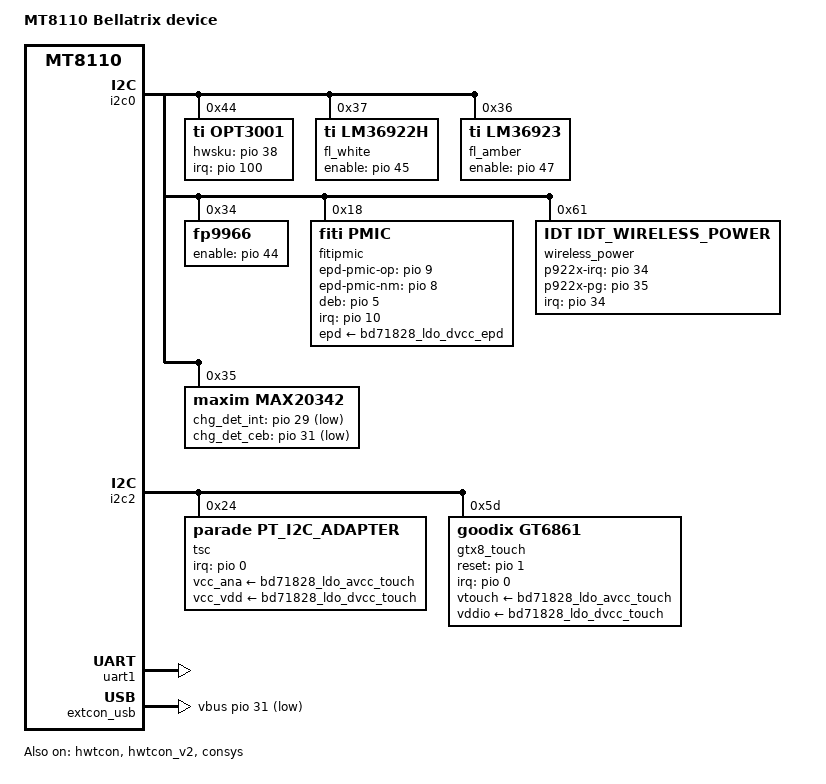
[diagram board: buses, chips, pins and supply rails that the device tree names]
/*
 * Copyright (c) 2020 Amazon.com Inc.
 *
 * SPDX-License-Identifier: (GPL-2.0 OR MIT)
 */

/dts-v1/;

#include "mt8110-bellatrix.dtsi"

/ {
	model = "MT8110 Bellatrix device";

	/* amazon virtual sensor */
	#include "malbec_virtual_sensor.dtsi"
};

&i2c0 {
	pinctrl-names = "default", "sleep";
	pinctrl-0 = <&i2c0_pins>;
	pinctrl-1 = <&i2c0_pins>;

	opt3001@44 {
		compatible = "ti,opt3001";
		pinctrl-names = "default", "sleep";
		pinctrl-0 = <&opt3001_pins_default>;
		pinctrl-1 = <&opt3001_pins_default>;
		reg = <0x44>;
		interrupt-parent = <&pio>;
		interrupts = <100 IRQ_TYPE_EDGE_FALLING>;

		hwsku-gpios = <&pio 38 0>;
	};

	/*white*/
	fl_white: lm36922h@37 {
		compatible = "ti,lm36922h";
		pinctrl-names = "default", "sleep";
		pinctrl-0 = <&lm36922h_pins>;
		pinctrl-1 = <&lm36922h_pins_sleep>;
		reg = <0x37>;
		enable-gpios = <&pio 45 GPIO_ACTIVE_HIGH>;

		bl@0{
			label = "lm36922h-bl";
			reg=<0>;
			frontlight=<0>;

		};
	};

	/*Amber*/
	fl_amber: lm36923@36 {
		compatible = "ti,lm36923";
		pinctrl-names = "default", "sleep";
		pinctrl-0 = <&lm36923_pins>;
		pinctrl-1 = <&lm36923_pins_sleep>;
		reg = <0x36>;
		enable-gpios = <&pio 47 GPIO_ACTIVE_HIGH>;

		bl@0{
			label = "lm36923-bl";
			reg=<0>;
			frontlight=<1>;
		};
	};

	/*white-Amber FP9966*/
	fp9966@34 {
		compatible = "fp9966";
		pinctrl-names = "default", "sleep";
		pinctrl-0 = <&fp9966_pins_default>;
		pinctrl-1 = <&fp9966_pins_sleep>;
		reg = <0x34>;
		enable-gpios = <&pio 44 GPIO_ACTIVE_HIGH>;

		bl@0{
			label = "fp9966-bl0";
			enable = <1>;
			mapmode = <1>;	/*0: Linear mapping, 1: Exponential mapping */
		};

		bl@1{
			label = "fp9966-bl1";
			enable = <1>;
			mapmode = <1>;	/*0: Linear mapping, 1: Exponential mapping */
		};
	};

	fitipmic: fiti@18 {
		compatible = "fiti,pmic";
		reg = <0x18>;
		vgh_ext = <0>;
		vgl_ext = <0>;
		xon_len = <2510>;
		xon_delay = <0>;
		vgh = <28000>;
		vgl = <20000>;
		vcom_setting = <1400>;
		vghnm_setting = <2900>;
		vghnm_ext = <1500>;
		vpos = <15000>;
		vneg = <15000>;
		epd-pmic-en = <&bd71828 1 0>;
		epd-pmic-op = <&pio 9 0>;
		epd-pmic-nm = <&pio 8 0>;
		interrupt-parent = <&pio>;
		interrupts = <10 IRQ_TYPE_LEVEL_HIGH>;
		deb-gpios = <&pio 5 0>;
		debounce = <16>;
		epd-supply = <&bd71828_ldo_dvcc_epd>;
		pinctrl-names = "active", "inactive";
		pinctrl-0 = <&fiti_pins_active>;
		pinctrl-1 = <&fiti_pins_inactive>;
		status = "okay";
	};

	wireless_power: p922x@61 {
		compatible = "IDT,idt_wireless_power";
		reg = <0x61>;
		interrupt-parent = <&pio>;
		interrupts = <34 IRQ_TYPE_EDGE_FALLING 35 IRQ_TYPE_EDGE_RISING>;

		wpc-mivr = <4500000 4500000>;
		wpc-switch-voltage = <4500 5000 5500 8500 9000 9500>;
		bpp-5w-fod = /bits/ 8 <154 52 130 58 149 32 144 36
					146 37 152 30 152 27 144 35>;
		bpp-10w-fod = /bits/ 8 <166 79 131 95 141 67 142 61
					141 81 141 81 141 75 141 59>;

		pinctrl-names = "wpc_en_default", "wpc_en0", "wpc_en1",
					"sleep_en_default", "sleep_en0", "sleep_en1";
		pinctrl-0 = <&wpc_en_default>;
		pinctrl-1 = <&wpc_en0>;
		pinctrl-2 = <&wpc_en1>;
		pinctrl-3 = <&sleep_en_default>;
		pinctrl-4 = <&sleep_en0>;
		pinctrl-5 = <&sleep_en1>;

		p922x-irq = <&pio 34 0>;
		p922x-pg = <&pio 35 0>;

		wpc-hardware-config = <1>;
		status = "okay";
	};

	max20342: max20342@35 {
		compatible = "maxim,max20342";
		interrupt-parent = <&pio>;
		interrupt-controller;
		pinctrl-names = "default";
		pinctrl-0 = <&max20342_chg_det_pins_default>;
		chg_det_int = <&pio 29 GPIO_ACTIVE_LOW>;
		chg_det_ceb = <&pio 31 GPIO_ACTIVE_LOW>;
		reg = <0x35>;
		status = "okay";
	};
};

&i2c1 {
	pinctrl-names = "default", "sleep";
	pinctrl-0 = <&i2c1_pins>;
	pinctrl-1 = <&i2c1_pins>;
};

&i2c2 {
	pinctrl-names = "default", "sleep";
	pinctrl-0 = <&i2c2_pins>;
	pinctrl-1 = <&i2c2_pins_sleep>;

	tsc@24 {
		compatible = "parade,pt_i2c_adapter";
		pinctrl-names = "default", "sleep";
		pinctrl-0 = <&touch_sensor_pins_default>;
		pinctrl-1 = <&touch_sensor_pins_sleep>;
		reg = <0x24>;

		/* GPIO 0, high-to-low edge triggered */
		interrupts = <0 2>;
		interrupt-parent = <&pio>;
		parade,adapter_id = "pt_i2c_adapter";
		vcc_ana-supply = <&bd71828_ldo_avcc_touch>;
		vcc_vdd-supply = <&bd71828_ldo_dvcc_touch>;

		parade,core {
			parade,name = "pt_core";

			parade,irq_gpio = <&pio 0 0>;
			parade,rst_gpio = <&pio 1 0>;
			parade,hid_desc_register = <1>;
			/*CY_CORE_FLAG_RESTORE_PARAMETERS | PT_CORE_FLAG_POWEROFF_ON_SLEEP*/
			parade,flags = <6>;
			/* CY_CORE_EWG_NONE */
			parade,easy_wakeup_gesture = <0>;
			/* 0:AUTO 1:PIP1_ONLY 2:PIP2_CAPABLE */
			parade,config_dut_generation = <0>;
			/* 0:False 1:True*/
			parade,watchdog_force_stop = <0>;
			/* Firmare Board Prefix */
			parade,fw_board_prefix = "malbec";

			parade,mt {
				parade,name = "pt_mt";

				parade,inp_dev_name = "pt_mt";
	/* CY_MT_FLAG_FLIP | CY_MT_FLAG_INV_X */
				parade,flags = <0x18>;
				parade,abs =
	/* ABS_MT_POSITION_X, CY_ABS_MIN_X, CY_ABS_MAX_X, 0, 0 */
					<0x35 0 1236 0 0
	/* ABS_MT_POSITION_Y, CY_ABS_MIN_Y, CY_ABS_MAX_Y, 0, 0 */
					0x36 0 1648 0 0
	/* ABS_MT_PRESSURE, CY_ABS_MIN_P, CY_ABS_MAX_P, 0, 0 */
					0x3a 0 255 0 0
	/* CY_IGNORE_VALUE, CY_ABS_MIN_W, CY_ABS_MAX_W, 0, 0 */
					0xffff 0 255 0 0
	/* ABS_MT_TRACKING_ID, CY_ABS_MIN_T, CY_ABS_MAX_T, 0, 0 */
					0x39 0 15 0 0
	/* ABS_MT_TOUCH_MAJOR, 0, 255, 0, 0 */
					0x30 0 255 0 0
	/* ABS_MT_TOUCH_MINOR, 0, 255, 0, 0 */
					0xffff 0 255 0 0
	/* ABS_MT_ORIENTATION, -127, 127, 0, 0 */
					0xffff 0xffffff81 127 0 0
	/* ABS_MT_TOOL_TYPE, 0, MT_TOOL_MAX, 0, 0 */
					0xffff 0 1 0 0
	/* ABS_MT_DISTANCE, 0, 255, 0, 0 */
					0x3b 0 255 0 0>;

				parade,vkeys_x = <720>;
				parade,vkeys_y = <1280>;

				parade,virtual_keys =
				/* KeyCode CenterX CenterY Width Height */
					/* KEY_BACK */
					<158 1360 90 160 180
					/* KEY_MENU */
					139 1360 270 160 180
					/* KEY_HOMEPAGE */
					172 1360 450 160 180
					/* KEY SEARCH */
					217 1360 630 160 180>;
			};
		};
	};

	gtx8_touch@5d {
		compatible = "goodix,gt6861";
		reg = <0x5d>;
		pinctrl-names = "pmx_ts_active", "pmx_ts_suspend";
		pinctrl-0 = <&goodix_touch_sensor_pins_default>;
		pinctrl-1 = <&goodix_touch_sensor_pins_sleep>;
		status = "ok";
		interrupt-parent = <&pio>;
		interrupts = <0 IRQ_TYPE_EDGE_FALLING>;
		goodix,avdd-name = "vtouch";
		vtouch-supply = <&bd71828_ldo_avcc_touch>;
		goodix,iovdd-name = "vddio";
		vddio-supply = <&bd71828_ldo_dvcc_touch>;

		goodix,reset-gpio = <&pio 1 0>;
		goodix,irq-gpio = <&pio 0 0>;
		goodix,irq-flags = <2>;	/* 1:trigger rising, 2:trigger falling;*/
		goodix,panel-max-id = <2>;	/* maximum number of concurrent touches supported */
		goodix,panel-max-x = <1236>;
		goodix,panel-max-y = <1648>;
		goodix,panel-max-w = <255>;	/* TOUCH_MAJOR */
		goodix,panel-max-p = <255>;	/* TOUCH_PRESSURE */
		goodix,power-on-delay-us = <300000>;	/*300ms*/
		goodix,power-off-delay-us = <5000>;	/* 5ms */
		/*goodix,swap-axis;*/
		/* goodix,x2x; */
		/* goodix,y2y; */
		sensor0 {
			normal-cfg = [ ]; /* normal config */
		};
	};
};

&hwtcon {
	status = "okay";
	pinctrl-names = "active","inactive";
	pinctrl-0 = <&hwtcon_pins_active>;
	pinctrl-1 = <&hwtcon_pins_inactive>;
	epd{
		panel_dpi_clk = <60000000>;
		panel_width = <1648>;
		panel_height = <1236>;
		panel_area_w = <140>;
		panel_area_h = <105>;
		panel_waveform_type = <4>;
		panel_output_8bit = <0>;
		panel_tcon0 = <5 1241 41 51 0 1 0 0>;
		panel_tcon1 = <5 1241 7 27 0 0 0 0>;
		panel_tcon2 = <4 1243 7 7 4 0 1 7>;
		panel_tcon3 = <1 1246 57 497 0 0 0 0>;
		panel_tcon4 = <0 0 0 0 0 0 0 0>;
		panel_tcon5 = <2 3 256 280 4 1 1 7>;
		panel_dpi = <10 60 7 2 6 3 1>;
		panel_material_type = <4>;
		panel_rotate = <3>;
		modify_wf_mode_counter = <800>;
		status = "okay";
	};
};

&hwtcon_reserved {
	reg = <0 0x44600000 0 0x00700000>;
};

&hwtcon_v2 {
	status = "okay";
	memory-region = <&hwtcon_reserved>;
	pinctrl-names = "active","inactive";
	pinctrl-0 = <&hwtcon_pins_active>;
	pinctrl-1 = <&hwtcon_pins_inactive>;
	epd{
		panel_dpi_clk = <60000000>;
		panel_width = <1648>;
		panel_height = <1236>;
		panel_area_w = <140>;
		panel_area_h = <105>;
		panel_waveform_type = <4>;
		panel_output_8bit = <0>;
		panel_tcon0 = <5 1241 41 51 0 1 0 0>;
		panel_tcon1 = <5 1241 7 27 0 0 0 0>;
		panel_tcon2 = <4 1243 7 7 4 0 1 7>;
		panel_tcon3 = <1 1246 57 497 0 0 0 0>;
		panel_tcon4 = <1 2 7 7 4 1 1 7>;
		panel_tcon5 = <2 3 256 280 4 1 1 7>;
		panel_dpi = <10 60 7 2 6 3 1>;
		panel_material_type = <4>;
		panel_rotate = <3>;
		modify_wf_mode_counter = <800>;
		status = "okay";
	};
};

&pio {
	unused_pin_default: unusedpindefault {
		pins_unused {
			pinmux = <MT8512_PIN_20_GPIO20__FUNC_GPIO20>,
				<MT8512_PIN_32_FL_EN__FUNC_GPIO32>,
				<MT8512_PIN_40_KPROW0__FUNC_GPIO40>,
				<MT8512_PIN_41_KPROW1__FUNC_GPIO41>,
				<MT8512_PIN_43_KPCOL1__FUNC_GPIO43>,
				<MT8512_PIN_46_PWM2__FUNC_GPIO46>, /* CAFL Amber PWM */
				<MT8512_PIN_48_JTMS__FUNC_GPIO48>,
				<MT8512_PIN_102_DMIC1_CLK__FUNC_GPIO102>,
				<MT8512_PIN_103_DMIC1_DAT0__FUNC_GPIO103>,
				<MT8512_PIN_104_DMIC1_DAT1__FUNC_GPIO104>;
			input-enable;
			bias-pull-down;
		};

		pins_touch_id {
			pinmux = <MT8512_PIN_19_GPIO19__FUNC_GPIO19>, /* Touch ID 1 */
				<MT8512_PIN_18_GPIO18__FUNC_GPIO18>; /* Touch ID 0 */
			input-enable;
			bias-pull-up;
		};
	};

	i2c0_pins: i2c0 {
		pins_bus {
			pinmux = <MT8512_PIN_64_SDA0__FUNC_SDA0_0>,
				 <MT8512_PIN_65_SCL0__FUNC_SCL0_0>;
			input-enable;
			bias-disable;
		};
	};

	i2c1_pins: i2c1 {
		pins_bus {
			pinmux = <MT8512_PIN_66_SDA1__FUNC_SDA1_0>,
				 <MT8512_PIN_67_SCL1__FUNC_SCL1_0>;
			input-enable;
			bias-disable;
		};
	};

	i2c2_pins: i2c2 {
		pins_bus {
			pinmux = <MT8512_PIN_68_SDA2__FUNC_SDA2_0>,
				 <MT8512_PIN_69_SCL2__FUNC_SCL2_0>;
			input-enable;
			bias-disable;
		};
	};

	i2c2_pins_sleep: i2c2_sleep {
		pins_bus {
			pinmux = <MT8512_PIN_68_SDA2__FUNC_GPIO68>,
				 <MT8512_PIN_69_SCL2__FUNC_GPIO69>;
			input-disable;
			bias-disable;
		};
	};

	opt3001_pins_default: opt3001_default {
		pins_cmd_dat {
			pinmux = <MT8512_PIN_100_DMIC0_DAT0__FUNC_GPIO100>;
			input-enable;
			bias-disable;
		};
		pins_hw_sku {
			pinmux = <MT8512_PIN_38_WAN_VBAT_EN__FUNC_GPIO38>;
			input-enable;
			bias-disable;
		};
	};

	goodix_touch_sensor_pins_default: touchsensordefault {
		pins_rst {
			pinmux = <MT8512_PIN_1_GPIO1__FUNC_GPIO1>;  /*TOUCH_RST*/
			output-low;
		};
		pins_int {
			pinmux = <MT8512_PIN_0_GPIO0__FUNC_GPIO0>;  /*TOUCH_INT*/
			input-enable;
			bias-disable;
		};
	};

	goodix_touch_sensor_pins_sleep: touchsensorsleep {
		pins_rst {
			pinmux = <MT8512_PIN_1_GPIO1__FUNC_GPIO1>;  /*TOUCH_RST*/
			input-enable;
			bias-pull-down;
		};
		pins_int {
			pinmux = <MT8512_PIN_0_GPIO0__FUNC_GPIO0>;  /*TOUCH_INT*/
			input-enable;
			bias-pull-down;
		};
	};

	touch_sensor_pins_default: touchsensordefault {
		pins_rst {
			pinmux = <MT8512_PIN_1_GPIO1__FUNC_GPIO1>;  /*TOUCH_RST*/
			input-enable;
			bias-disable;
		};
		pins_int {
			pinmux = <MT8512_PIN_0_GPIO0__FUNC_GPIO0>;  /*TOUCH_INT*/
			input-enable;
			bias-disable;
		};
	};

	touch_sensor_pins_sleep: touchsensorsleep {
		pins_rst {
			pinmux = <MT8512_PIN_1_GPIO1__FUNC_GPIO1>;  /*TOUCH_RST*/
			input-enable;
			bias-disable;
		};
		pins_int {
			pinmux = <MT8512_PIN_0_GPIO0__FUNC_GPIO0>;  /*TOUCH_INT*/
			input-enable;
			bias-disable;
		};
	};

	uart1_pin: uart1default {
		pins_rx {
			pinmux = <MT8512_PIN_54_URXD1__FUNC_URXD1>;
			input-enable;
			bias-pull-up;
		};

		pins_tx {
			pinmux = <MT8512_PIN_55_UTXD1__FUNC_UTXD1>;
		};

		pins_rts {
			pinmux = <MT8512_PIN_56_URTS1__FUNC_URTS1>;
		};

		pins_cts {
			pinmux = <MT8512_PIN_57_UCTS1__FUNC_UCTS1>;
			input-enable;
			bias-pull-up;
		};
	};

	lm36922h_pins: lm36922h_pins {
		pins_cmd_dat {
			pinmux = <MT8512_PIN_45_PWM1__FUNC_GPIO45>;
			input-disable;
			bias-disable;
		};
	};

	lm36922h_pins_sleep: lm36922h_pins_sleep {
		pins_cmd_dat {
			pinmux = <MT8512_PIN_45_PWM1__FUNC_GPIO45>;
			input-enable;
			bias-pull-down;
		};
	};

	lm36923_pins: lm36923_pins {
		pins_cmd_dat {
			pinmux = <MT8512_PIN_47_PWM3__FUNC_GPIO47>;
			input-disable;
			bias-disable;
		};
	};

	lm36923_pins_sleep: lm36923_pins_sleep {
		pins_cmd_dat {
			pinmux = <MT8512_PIN_47_PWM3__FUNC_GPIO47>;
			input-enable;
			bias-pull-down;
		};
	};

	fp9966_pins_default: fp9966pinsdefault {
		pins_cmd_dat {
			pinmux = <MT8512_PIN_44_PWM0__FUNC_GPIO44>;
			bias-disable;
		};
	};

	fp9966_pins_sleep: fp9966pinssleep {
		pins_cmd_dat {
			pinmux = <MT8512_PIN_44_PWM0__FUNC_GPIO44>;
			input-enable;
			bias-pull-down;
		};
	};

	wpc_en_default: wpc_en_default {
		pins_int {
			pinmux = <MT8512_PIN_34_SOC2WAN_RESET__FUNC_GPIO34>;
			input-enable;
			bias-disable;
		};

		pins_en {
			pinmux = <MT8512_PIN_33_WAN_SMS_RDY__FUNC_GPIO33>;
			output-low;
			bias-disable;
		};
	};

	wpc_en0: wpc_en0 {
		pins_en {
			pinmux = <MT8512_PIN_33_WAN_SMS_RDY__FUNC_GPIO33>;
			output-low;
			bias-disable;
		};
	};

	wpc_en1: wpc_en1 {
		pins_en {
			pinmux = <MT8512_PIN_33_WAN_SMS_RDY__FUNC_GPIO33>;
			output-high;
			bias-disable;
		};
	};

	sleep_en_default: sleep_en_default {
		pins_pdet {
			pinmux = <MT8512_PIN_35_WAN_FM_RDY__FUNC_GPIO35>;
			input-enable;
			bias-disable;
		};
	};

	sleep_en0: sleep_en0 {
		pins_en {
			pinmux = <MT8512_PIN_33_WAN_SMS_RDY__FUNC_GPIO33>;
			output-low;
			bias-disable;
		};
	};

	sleep_en1: sleep_en1 {
		pins_en {
			pinmux = <MT8512_PIN_33_WAN_SMS_RDY__FUNC_GPIO33>;
			output-high;
			bias-disable;
		};
	};

	max20342_chg_det_pins_default: max20342_chg_det_pins_default {
		pins_cmd_dat {
			pinmux = <MT8512_PIN_29_CHG_IRQ__FUNC_GPIO29>;
			input-enable;
			bias-disable;
		};
	};
};

&uart1 {
	pinctrl-names = "default";
	pinctrl-0 = <&uart1_pin>;
	status = "okay";
};

&consys {
	pinctrl-names = "default";
	pinctrl-0 = <&consys_pins_default>;
	1v8_en = <&pio 12 0>;	/* 1.8V */
        3v3_en = <&pio 13 0>;	/* 3.3V */
	vcn28-supply = <&bd71828_ldo_vosnvs>;
        2v8_en = <&pio 54 0>;	/* 2.8V */
	status = "okay";
	/delete-property/ pinctrl-1;
	/delete-property/ pinctrl-2;
};

&extcon_usb {
	vbus-gpios = <&pio 31 GPIO_ACTIVE_LOW>;
};

&usbvbus_det_pins_default {
	pins_cmd_dat {
		pinmux = <MT8512_PIN_31_CHG_CEB__FUNC_GPIO31>;
		input-enable;
		bias-disable;
	};
};

&tboard_thermistor {
	compatible = "generic-adc-thermal";
	#thermal-sensor-cells = <0>;
	io-channels = <&auxadc 0>, <&auxadc 1>, <&auxadc 2>, <&auxadc 3>;
	io-channel-names = "sensor-channel";

	auxadc_0 {
		pull_up_r = <100000>;
		over_critical_low = <4397119>;
		pull_up_voltage = <1800>;
		ntc_table = <7>;
		adc_channel = <0>;
		temperature_r = <0>;
		channel_name = "mtktspcb1";
	};
	auxadc_1 {
		pull_up_r = <47000>;
		over_critical_low = <4397119>;
		pull_up_voltage = <1800>;
		ntc_table = <7>;
		adc_channel = <1>;
		temperature_r = <0>;
		channel_name = "mtktspcb2";
	};
	auxadc_2 {
		pull_up_r = <100000>;
		over_critical_low = <4397119>;
		pull_up_voltage = <1800>;
		ntc_table = <7>;
		adc_channel = <2>;
		temperature_r = <0>;
		channel_name = "mtktsAP";
	};
	auxadc_3 {
		pull_up_r = <100000>;
		over_critical_low = <4397119>;
		pull_up_voltage = <1800>;
		ntc_table = <7>;
		adc_channel = <3>;
		temperature_r = <0>;
		channel_name = "mtktspcb3";
	};
};
